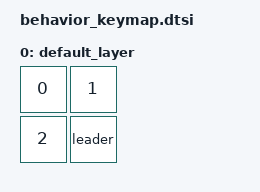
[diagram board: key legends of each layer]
#include <dt-bindings/zmk/keys.h>
#include <behaviors.dtsi>
#include <dt-bindings/zmk/kscan_mock.h>

/ {
    behaviors {
        leader: leader {
            compatible = "zmk,behavior-leader-key";
            #binding-cells = <0>;

            leader_seq_one {
                sequence = <N0 N1>;
                bindings = <&kp A>;
            };

            leader_seq_two {
                sequence = <N0 N2>;
                bindings = <&kp B>;
            };

            leader_seq_three {
                sequence = <N1>;
                bindings = <&kp C>;
            };
        };
    };

    keymap {
        compatible = "zmk,keymap";
        default_layer {
            bindings = <
                &kp N0 &kp N1
                &kp N2 &leader
            >;
        };
    };
};
